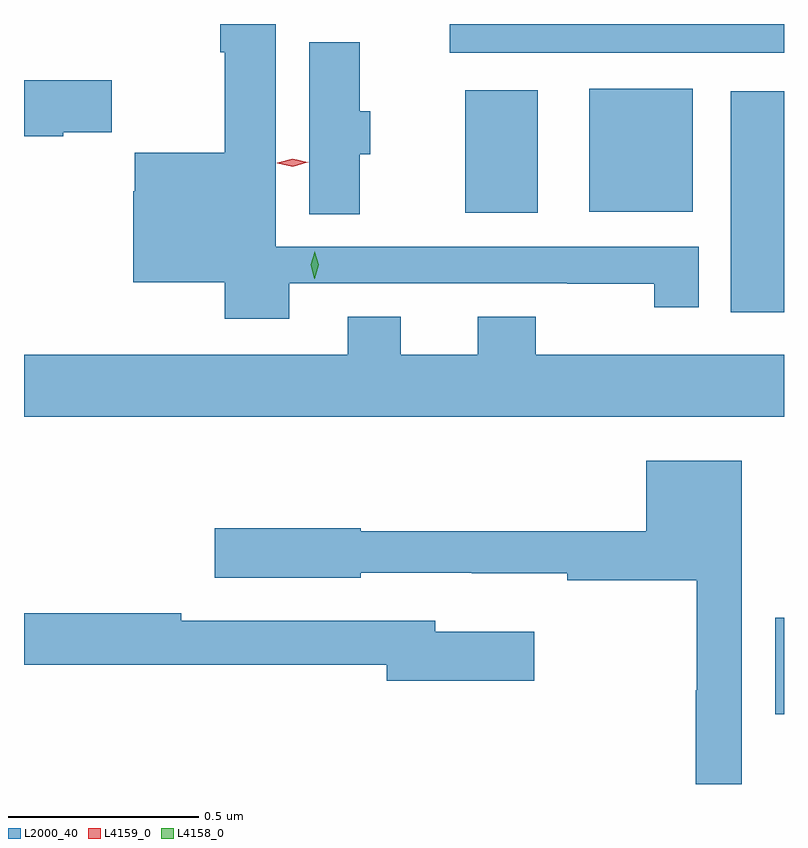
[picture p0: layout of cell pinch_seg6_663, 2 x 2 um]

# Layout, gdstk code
import gdstk
lib = gdstk.Library(unit=1e-6, precision=1e-09)
def R(c, l, rs):  # rectangles x0, y0, x1, y1
    for r in rs: c.add(gdstk.rectangle(r[:2], r[2:], *l))
def P(c, l, *ps):  # polygons
    for p in ps: c.add(gdstk.Polygon(p, *l))
L2000_40 = (2000, 40)
L4158_0 = (4158, 0)
L4159_0 = (4159, 0)

pinch_seg6_663 = lib.new_cell('pinch_seg6_663')
R(pinch_seg6_663, L2000_40, [(391.475,942.557,391.498,942.811), (391.358,943.616,391.498,944.197), (390.659,943.877,390.85,944.2), (390.986,943.88,391.258,944.203), (390.618,944.298,391.498,944.374)])
P(pinch_seg6_663, L2000_40, [(390.196,943.692),(390.928,943.692),(390.928,943.691),(391.156,943.691),(391.156,943.629),(391.273,943.629),(391.273,943.788),(390.16,943.788),(390.16,944.374),(390.014,944.374),(390.014,944.3),(390.026,944.3),(390.026,944.035),(389.79,944.035),(389.79,943.934),(389.786,943.934),(389.786,943.694),(390.026,943.694),(390.026,943.598),(390.196,943.598)],
  [(390.382,944.031),(390.409,944.031),(390.409,944.145),(390.382,944.145),(390.382,944.326),(390.248,944.326),(390.248,943.873),(390.382,943.873)],
  [(389.601,944.089),(389.729,944.089),(389.729,944.226),(389.498,944.226),(389.498,944.078),(389.601,944.078)],
  [(391.498,943.504),(390.845,943.504),(390.845,943.603),(390.692,943.603),(390.692,943.504),(390.49,943.504),(390.49,943.603),(390.35,943.603),(390.35,943.504),(389.498,943.504),(389.498,943.34),(391.498,943.34)],
  [(391.387,943.225),(391.136,943.225),(391.136,943.039),(390.384,943.039),(390.384,943.047),(390,943.047),(390,942.917),(390.384,942.917),(390.384,942.93),(390.676,942.93),(390.676,942.929),(390.928,942.929),(390.928,942.91),(391.268,942.91),(391.268,942.621),(391.266,942.621),(391.266,942.374),(391.387,942.374)],
  [(390.841,942.775),(390.58,942.775),(390.58,942.804),(389.912,942.804),(389.912,942.824),(389.498,942.824),(389.498,942.688),(390.452,942.688),(390.452,942.646),(390.841,942.646)])
P(pinch_seg6_663, L4158_0, [(390.262,943.704),(390.262,943.704),(390.253,943.74),(390.263,943.775),(390.263,943.776),(390.263,943.775),(390.273,943.74),(390.263,943.704)])
P(pinch_seg6_663, L4159_0, [(390.205,943.999),(390.165,944.008),(390.164,944.009),(390.165,944.009),(390.205,944.019),(390.245,944.01),(390.246,944.01),(390.245,944.01)])

lib.write_gds('pinch_seg6_663.gds')
